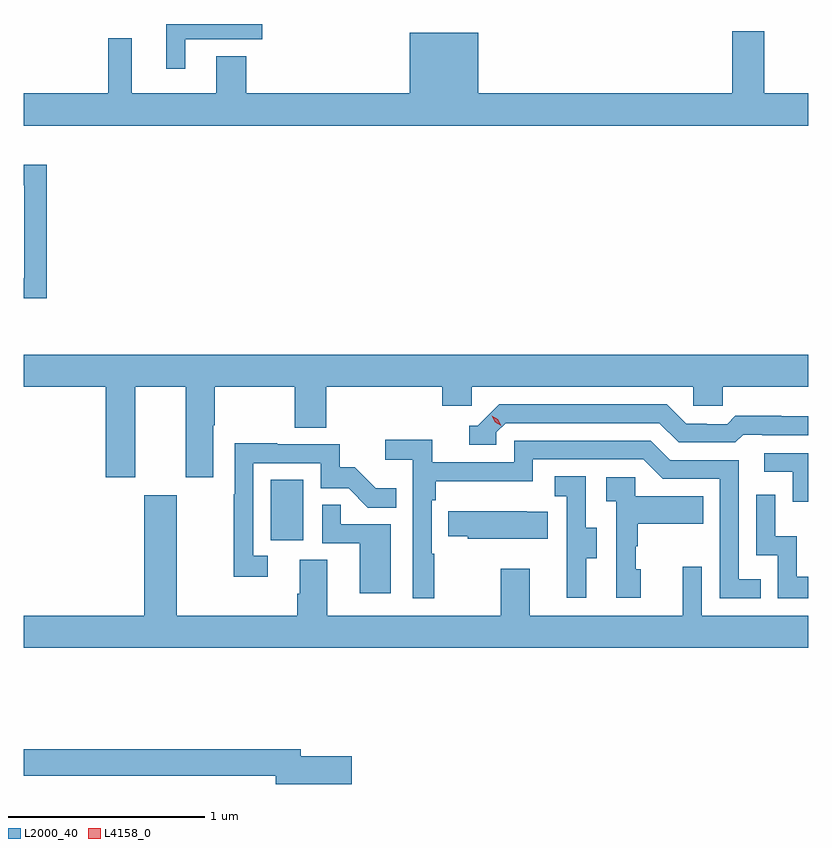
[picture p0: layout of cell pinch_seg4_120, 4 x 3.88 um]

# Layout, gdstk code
import gdstk
lib = gdstk.Library(unit=1e-6, precision=1e-09)
def R(c, l, rs):  # rectangles x0, y0, x1, y1
    for r in rs: c.add(gdstk.rectangle(r[:2], r[2:], *l))
def P(c, l, *ps):  # polygons
    for p in ps: c.add(gdstk.Polygon(p, *l))
L2000_40 = (2000, 40)
L4158_0 = (4158, 0)

pinch_seg4_120 = lib.new_cell('pinch_seg4_120')
R(pinch_seg4_120, L2000_40, [(1019.132,790.71,1019.296,791.017)])
P(pinch_seg4_120, L2000_40, [(1018.696,793.263),(1019.087,793.263),(1019.087,793.342),(1018.598,793.342),(1018.598,793.113),(1018.696,793.113)],
  [(1021.872,792.988),(1021.648,792.988),(1021.648,793.305),(1021.484,793.305),(1021.484,792.988),(1020.19,792.988),(1020.19,793.297),(1019.84,793.297),(1019.84,792.988),(1019.006,792.988),(1019.006,793.178),(1018.853,793.178),(1018.853,792.988),(1018.423,792.988),(1018.423,793.27),(1018.302,793.27),(1018.302,792.988),(1017.872,792.988),(1017.872,792.824),(1021.872,792.824)],
  [(1017.989,792.625),(1017.872,792.625),(1017.872,792.519),(1017.873,792.519),(1017.873,792.045),(1017.872,792.045),(1017.872,791.944),(1017.989,791.944)],
  [(1018.441,791.492),(1018.697,791.492),(1018.697,791.031),(1018.837,791.031),(1018.837,791.296),(1018.845,791.296),(1018.845,791.492),(1019.254,791.492),(1019.254,791.284),(1019.414,791.284),(1019.414,791.492),(1020.005,791.492),(1020.005,791.394),(1020.156,791.394),(1020.156,791.492),(1021.287,791.492),(1021.287,791.394),(1021.437,791.394),(1021.437,791.492),(1021.872,791.492),(1021.872,791.656),(1017.872,791.656),(1017.872,791.492),(1018.289,791.492),(1018.289,791.031),(1018.441,791.031)],
  [(1020.282,791.259),(1020.33,791.307),(1021.113,791.307),(1021.212,791.208),(1021.501,791.208),(1021.54,791.247),(1021.639,791.247),(1021.639,791.244),(1021.872,791.244),(1021.872,791.341),(1021.734,791.341),(1021.734,791.344),(1021.501,791.344),(1021.459,791.301),(1021.356,791.301),(1021.356,791.304),(1021.249,791.304),(1021.15,791.403),(1020.297,791.403),(1020.186,791.292),(1020.143,791.292),(1020.143,791.196),(1020.282,791.196)],
  [(1019.965,790.64),(1019.952,790.64),(1019.952,790.913),(1019.972,790.913),(1019.972,791.009),(1020.468,791.009),(1020.468,791.121),(1021.032,791.121),(1021.131,791.022),(1021.422,791.022),(1021.422,790.413),(1021.631,790.413),(1021.631,790.509),(1021.518,790.509),(1021.518,791.118),(1021.168,791.118),(1021.069,791.217),(1020.372,791.217),(1020.372,791.106),(1019.954,791.106),(1019.954,791.222),(1019.715,791.222),(1019.715,791.12),(1019.856,791.12),(1019.856,790.413),(1019.965,790.413)],
  [(1019.116,790.629),(1019.043,790.629),(1019.043,791.103),(1019.385,791.103),(1019.385,790.974),(1019.529,790.974),(1019.627,790.876),(1019.771,790.876),(1019.771,790.975),(1019.667,790.975),(1019.56,791.082),(1019.484,791.082),(1019.484,791.199),(1019.165,791.199),(1019.165,791.204),(1018.947,791.204),(1018.947,790.943),(1018.942,790.943),(1018.942,790.524),(1019.116,790.524)],
  [(1021.872,791.154),(1021.647,791.154),(1021.647,791.058),(1021.794,791.058),(1021.794,790.905),(1021.872,790.905)],
  [(1020.739,790.618),(1020.793,790.618),(1020.793,790.773),(1020.738,790.773),(1020.738,791.036),(1020.579,791.036),(1020.579,790.933),(1020.642,790.933),(1020.642,790.629),(1020.641,790.629),(1020.641,790.416),(1020.739,790.416)],
  [(1021.018,790.56),(1020.993,790.56),(1020.993,790.679),(1021.003,790.679),(1021.003,790.793),(1021.337,790.793),(1021.337,790.933),(1020.99,790.933),(1020.99,791.031),(1020.843,791.031),(1020.843,790.907),(1020.894,790.907),(1020.894,790.416),(1021.018,790.416)],
  [(1021.872,790.522),(1021.814,790.522),(1021.814,790.73),(1021.704,790.73),(1021.704,790.942),(1021.608,790.942),(1021.608,790.632),(1021.716,790.632),(1021.716,790.413),(1021.872,790.413)],
  [(1021.872,790.324),(1021.329,790.324),(1021.329,790.573),(1021.232,790.573),(1021.232,790.324),(1020.451,790.324),(1020.451,790.564),(1020.304,790.564),(1020.304,790.324),(1019.419,790.324),(1019.419,790.61),(1019.279,790.61),(1019.279,790.436),(1019.267,790.436),(1019.267,790.324),(1018.651,790.324),(1018.651,790.939),(1018.487,790.939),(1018.487,790.324),(1017.872,790.324),(1017.872,790.16),(1021.872,790.16)],
  [(1019.743,790.791),(1019.489,790.791),(1019.489,790.889),(1019.394,790.889),(1019.394,790.695),(1019.585,790.695),(1019.585,790.44),(1019.743,790.44)],
  [(1020.545,790.855),(1020.437,790.855),(1020.437,790.858),(1020.037,790.858),(1020.037,790.729),(1020.135,790.729),(1020.135,790.718),(1020.545,790.718)],
  [(1019.545,789.608),(1019.284,789.608),(1019.284,789.644),(1017.872,789.644),(1017.872,789.508),(1019.156,789.508),(1019.156,789.466),(1019.545,789.466)])
P(pinch_seg4_120, L4158_0, [(1020.306,791.293),(1020.275,791.312),(1020.258,791.344),(1020.258,791.345),(1020.259,791.345),(1020.29,791.326),(1020.306,791.294),(1020.306,791.293)])

lib.write_gds('pinch_seg4_120.gds')
